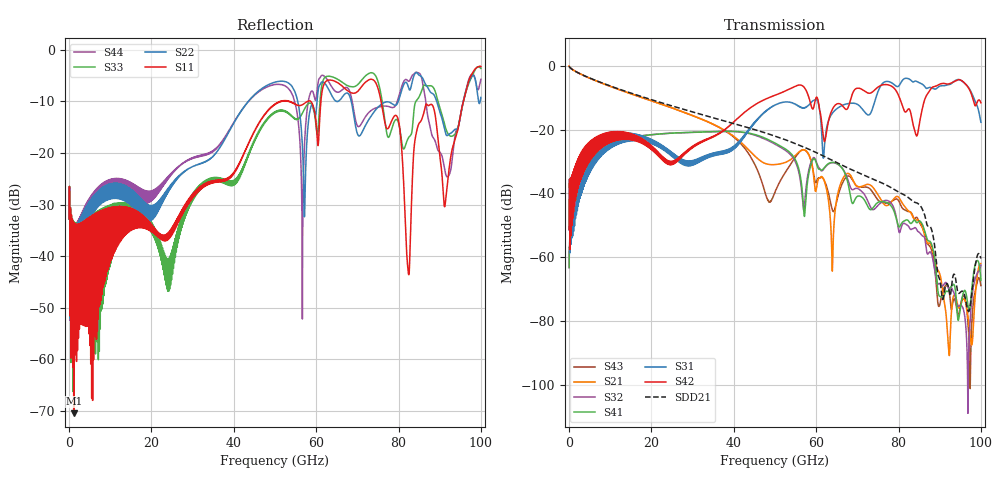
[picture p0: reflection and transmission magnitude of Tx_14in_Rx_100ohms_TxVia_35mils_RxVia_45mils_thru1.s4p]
! Info: Touchstone file created by Circ.  Input file=Tx_14in_Rx_100ohms_TxVia_35mils_RxVia_45mils.circ
# Hz S RI R 50
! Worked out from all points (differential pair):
!   10000 points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, 10 MHz to 100 GHz, reference 50 ohm
!   strongest paths, dB at 10 MHz, 25.01 GHz, 50.01 GHz, 75.01 GHz, 100 GHz:
!     S42: -51.3, -30.9, -9.3, -6.7, -11.6
!     S31: -51.3, -28.4, -12.3, -8.2, -17.7
!     S41: -63.2, -21.1, -24.2, -42.8, -67.1
!     S32: -63.2, -21.1, -24.6, -43.7, -62.4
!     S21: -0.2, -13.2, -31.0, -40.4, -61.9
!     S43: -0.2, -13.3, -39.6, -42.0, -68.8
!   taken as a pair (ports 1,3 in; 2,4 out), SDD21 dB: -0.2, -12.6, -22.0, -36.2, -60.3
!   lowest |S11| = -70.5 dB at 1.13 GHz (marker M1), VSWR 1.00, Z = 50 + j0.0289 ohm
!   |S11| at or under -10 dB: start of sweep to 51.28 GHz; 53.48 GHz to 57.87 GHz (4.392 GHz wide, 7.89 % of centre); 75.76 GHz to 95.75 GHz (19.98 GHz wide, 23.3 % of centre)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
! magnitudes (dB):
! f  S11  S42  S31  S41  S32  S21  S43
! 10 MHz  -32.7  -51.3  -51.3  -63.2  -63.2  -0.2  -0.2
! 1.13 GHz  -70.5  -37.9  -38.5  -37.5  -37.5  -1.5  -1.5
! 73.37 GHz  -5.7  -8.5  -14.5  -45.0  -44.7  -37.6  -39.0
! 82.36 GHz  -43.1  -13.6  -4.1  -48.5  -50.2  -45.4  -45.7
! 86.54 GHz  -10.8  -10.0  -6.9  -52.5  -55.3  -53.7  -53.5
! 92.14 GHz  -24.0  -5.7  -6.0  -70.5  -69.7  -88.2  -69.5
! 100 GHz  -3.2  -11.6  -17.7  -67.1  -62.4  -61.9  -68.8
